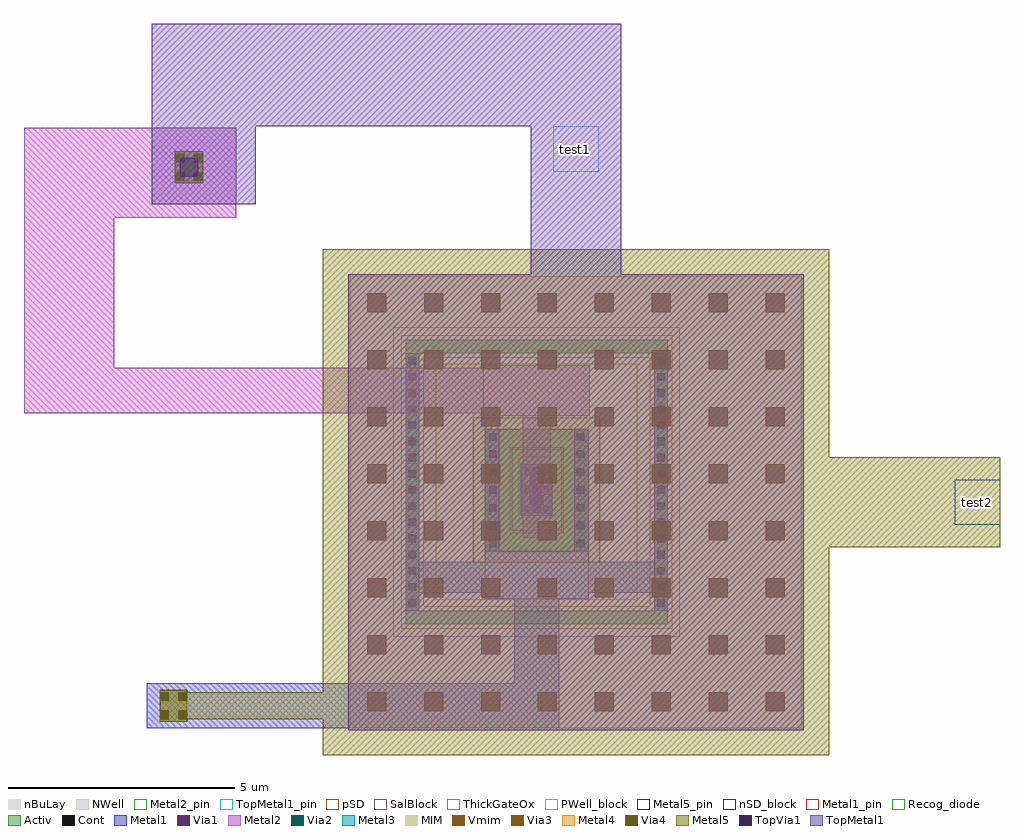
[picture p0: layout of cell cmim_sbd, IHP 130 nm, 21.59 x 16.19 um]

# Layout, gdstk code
from math import pi, radians
import gdstk
lib = gdstk.Library(unit=1e-6, precision=1e-09)
def R(c, l, rs):  # rectangles x0, y0, x1, y1
    for r in rs: c.add(gdstk.rectangle(r[:2], r[2:], *l))
def A(c, l, x, y, w, h, nx, ny, dx, dy):  # array of equal rectangles
    R(c, l, [(x+i*dx, y+j*dy, x+i*dx+w, y+j*dy+h) for i in range(nx) for j in range(ny)])
Activ = (1, 0)
Cont = (6, 0)
nSD_block = (7, 21)
Metal1 = (8, 0)
Metal1_pin = (8, 2)
Metal2 = (10, 0)
Metal2_pin = (10, 2)
pSD = (14, 0)
Via1 = (19, 0)
SalBlock = (28, 0)
Via2 = (29, 0)
Metal3 = (30, 0)
NWell = (31, 0)
nBuLay = (32, 0)
MIM = (36, 0)
ThickGateOx = (44, 0)
PWell_block = (46, 21)
Via3 = (49, 0)
Metal4 = (50, 0)
Via4 = (66, 0)
Metal5 = (67, 0)
Metal5_pin = (67, 2)
Recog_diode = (99, 31)
TopVia1 = (125, 0)
TopMetal1 = (126, 0)
TopMetal1_pin = (126, 2)
Vmim = (129, 0)

cmim = lib.new_cell('cmim')
R(cmim, MIM, [(0,0,10,10)])
R(cmim, Metal5, [(-0.6,-0.6,10.6,10.6)])
R(cmim, TopMetal1, [(-0.04,-0.04,10.04,10.04)])
A(cmim, Vmim, 0.38, 0.38, 0.42, 0.42, 8, 8, 1.26, 1.26)
cmim.add(gdstk.Label('c=152f', (5,5), layer=63, texttype=0))
cmim.add(gdstk.Label('cmim', (5,5), layer=63, texttype=0))

schottky = lib.new_cell('schottky')
R(schottky, Activ, [(-2.3,-2.38,3.5,-2.08), (-2.3,-2.08,-2,3.62), (3.2,-2.08,3.5,3.62), (-0.55,-0.4,1.75,2.3), (-2.3,3.62,3.5,3.92)])
A(schottky, Cont, -2.23, -1.99, 0.16, 0.16, 1, 3, 0, 0.355)
A(schottky, Cont, 3.27, -1.99, 0.16, 0.16, 1, 3, 0, 0.355)
A(schottky, Cont, -0.45, 0.08, 0.16, 0.16, 1, 3, 0, 0.395)
A(schottky, Cont, 1.49, 0.08, 0.16, 0.16, 1, 3, 0, 0.395)
A(schottky, Cont, -0.45, 1.26, 0.16, 0.16, 1, 3, 0, 0.395)
A(schottky, Cont, 1.49, 1.26, 0.16, 0.16, 1, 3, 0, 0.395)
R(schottky, Cont, [(-2.23,-0.92,-2.07,-0.76), (3.27,-0.92,3.43,-0.76), (-2.23,-0.565,-2.07,-0.405), (3.27,-0.565,3.43,-0.405), (-0.45,-0.31,-0.29,-0.15), (1.49,-0.31,1.65,-0.15), (-2.23,-0.205,-2.07,-0.045), (3.27,-0.205,3.43,-0.045), (-2.23,0.15,-2.07,0.31), (3.27,0.15,3.43,0.31), (0.45,0.45,0.75,1.45), (-2.23,0.51,-2.07,0.67), (3.27,0.51,3.43,0.67), (-2.23,0.865,-2.07,1.025), (3.27,0.865,3.43,1.025), (-2.23,1.225,-2.07,1.385), (3.27,1.225,3.43,1.385), (-2.23,1.58,-2.07,1.74), (3.27,1.58,3.43,1.74), (-2.23,1.94,-2.07,2.1), (3.27,1.94,3.43,2.1), (-2.23,2.295,-2.07,2.455), (3.27,2.295,3.43,2.455), (-2.23,2.655,-2.07,2.815), (3.27,2.655,3.43,2.815), (-2.23,3.01,-2.07,3.17), (3.27,3.01,3.43,3.17), (-2.23,3.37,-2.07,3.53), (3.27,3.37,3.43,3.53)])
R(schottky, nSD_block, [(0.05,0.05,1.15,1.85)])
R(schottky, Metal1, [(-2.3,-2.08,-2,3.62), (3.2,-2.08,3.5,3.62), (-0.55,-0.4,-0.51,2.3), (-0.51,-0.4,-0.23,2.3), (1.43,-0.4,1.71,2.3), (1.71,-0.4,1.75,2.3), (0.25,0.38,0.54,1.52), (0.25,0.38,0.54,1.52), (0.25,0.38,0.54,1.52), (0.4,0.38,0.8,1.52), (0.66,0.38,0.95,1.52), (0.66,0.38,0.95,1.52), (0.66,0.38,0.95,1.52), (0.29,0.42,0.5,1.48), (0.7,0.42,0.91,1.48), (-0.55,2.3,1.75,3.355)])
R(schottky, Metal1_pin, [(-2.3,-2.08,-2,3.62), (3.2,-2.08,3.5,3.62), (-0.55,2.3,1.75,3.355)])
R(schottky, Metal2, [(-0.58,-1.815,1.78,-0.695), (0.295,-0.695,0.905,2.005)])
R(schottky, Metal2_pin, [(-0.58,-1.815,1.78,-0.695)])
R(schottky, pSD, [(-2.4,-2.48,3.6,-1.98), (-2.4,-1.98,-1.9,3.52), (3.1,-1.98,3.6,3.52), (-2.4,3.52,3.6,4.02)])
A(schottky, Via1, 0.3, 0.43, 0.19, 0.19, 1, 3, 0, 0.425)
A(schottky, Via1, 0.71, 0.43, 0.19, 0.19, 1, 3, 0, 0.425)
R(schottky, SalBlock, [(0,0,1.2,1.9)])
R(schottky, NWell, [(-0.8,-0.65,2,0.2), (-0.8,0.2,0.2,1.7), (1,0.2,2,1.7), (-0.8,1.7,2,2.55)])
R(schottky, nBuLay, [(-0.55,-0.42,1.75,2.32)])
R(schottky, ThickGateOx, [(-2.57,-2.65,3.77,4.19)])
R(schottky, PWell_block, [(-1.63,-1.84,2.83,-0.65), (-1.63,-0.65,-0.8,2.55), (2,-0.65,2.83,2.55), (0.2,0.2,1,1.7), (-1.63,2.55,2.83,3.38)])
R(schottky, Recog_diode, [(-0.8,-0.65,2,2.55)])
schottky.add(gdstk.Label('schottky', (0.018,-0.59), layer=63, texttype=0))

via_stack = lib.new_cell('via_stack')
R(via_stack, Metal2, [(-0.35,-0.305,0.35,0.305)])
R(via_stack, Via2, [(-0.3,-0.3,-0.11,-0.11), (0.11,-0.3,0.3,-0.11), (-0.3,0.11,-0.11,0.3), (0.11,0.11,0.3,0.3)])
R(via_stack, Metal3, [(-0.35,-0.305,0.35,0.305)])
R(via_stack, Via3, [(-0.3,-0.3,-0.11,-0.11), (0.11,-0.3,0.3,-0.11), (-0.3,0.11,-0.11,0.3), (0.11,0.11,0.3,0.3)])
R(via_stack, Metal4, [(-0.35,-0.305,0.35,0.305)])
R(via_stack, Via4, [(-0.3,-0.3,-0.11,-0.11), (0.11,-0.3,0.3,-0.11), (-0.3,0.11,-0.11,0.3), (0.11,0.11,0.3,0.3)])
R(via_stack, Metal5, [(-0.35,-0.31,0.35,0.31)])
R(via_stack, TopVia1, [(-0.21,-0.21,0.21,0.21)])
R(via_stack, TopMetal1, [(-0.82,-0.82,0.82,0.82)])

via_stack_2 = lib.new_cell('via_stack$2')
R(via_stack_2, Metal1, [(-0.35,-0.31,0.35,0.31)])
R(via_stack_2, Metal2, [(-0.35,-0.305,0.35,0.305)])
R(via_stack_2, Via1, [(-0.3,-0.3,-0.11,-0.11), (0.11,-0.3,0.3,-0.11), (-0.3,0.11,-0.11,0.3), (0.11,0.11,0.3,0.3)])
R(via_stack_2, Via2, [(-0.3,-0.3,-0.11,-0.11), (0.11,-0.3,0.3,-0.11), (-0.3,0.11,-0.11,0.3), (0.11,0.11,0.3,0.3)])
R(via_stack_2, Metal3, [(-0.35,-0.305,0.35,0.305)])
R(via_stack_2, Via3, [(-0.3,-0.3,-0.11,-0.11), (0.11,-0.3,0.3,-0.11), (-0.3,0.11,-0.11,0.3), (0.11,0.11,0.3,0.3)])
R(via_stack_2, Metal4, [(-0.35,-0.305,0.35,0.305)])
R(via_stack_2, Via4, [(-0.3,-0.3,-0.11,-0.11), (0.11,-0.3,0.3,-0.11), (-0.3,0.11,-0.11,0.3), (0.11,0.11,0.3,0.3)])
R(via_stack_2, Metal5, [(-0.35,-0.305,0.35,0.305)])

cmim_sbd = lib.new_cell('cmim_sbd')
R(cmim_sbd, Metal1, [(14.39,5.43,19.89,6.11)])
R(cmim_sbd, Metal2, [(5.65,9.405,7.65,10.465)])
R(cmim_sbd, Metal5_pin, [(26.24,6.93,27.24,7.93)])
R(cmim_sbd, TopMetal1, [(8.48,14.02,10.78,15.745), (8.48,15.745,18.86,18.02)])
R(cmim_sbd, TopMetal1_pin, [(17.36,14.745,18.36,15.745)])
cmim_sbd.add(gdstk.FlexPath([(27.24,7.43),(23.46,7.43)], 2, ends="flush", simple_path=True, layer=67, datatype=0))  # Metal5
cmim_sbd.add(gdstk.FlexPath([(9.265,2.93),(12.26,2.93)], 0.6, ends="flush", simple_path=True, layer=67, datatype=0))  # Metal5
cmim_sbd.add(gdstk.FlexPath([(17.86,12.47),(17.86,15.745)], 2, ends="flush", simple_path=True, layer=126, datatype=0))  # TopMetal1
cmim_sbd.add(gdstk.FlexPath([(16.99,5.295),(16.99,2.93),(8.37,2.93)], 1, ends="flush", simple_path=True, layer=8, datatype=0))  # Metal1
cmim_sbd.add(gdstk.FlexPath([(15.81,9.905),(5.65,9.905)], 1, ends="flush", simple_path=True, layer=10, datatype=0))  # Metal2
cmim_sbd.add(gdstk.FlexPath([(6.65,10.465),(6.65,14.72),(10.35,14.72)], 2, ends="flush", simple_path=True, layer=10, datatype=0))  # Metal2
cmim_sbd.add(gdstk.Reference(cmim, (22.86,2.43), rotation=pi/2))
cmim_sbd.add(gdstk.Reference(schottky, (17.59,8.65), rotation=pi))
cmim_sbd.add(gdstk.Reference(via_stack, (9.3,14.84), rotation=pi/2))
cmim_sbd.add(gdstk.Reference(via_stack_2, (8.96,2.93), rotation=pi/2))
cmim_sbd.add(gdstk.Label('test1', (17.86,15.245), layer=126, texttype=25))
cmim_sbd.add(gdstk.Label('test2', (26.74,7.43), layer=67, texttype=25))

lib.write_gds('cmim_sbd.gds')
